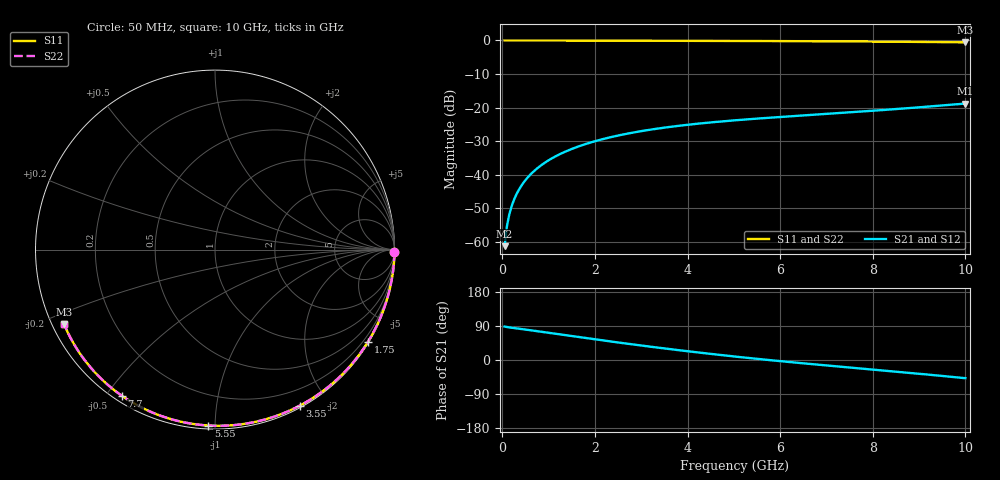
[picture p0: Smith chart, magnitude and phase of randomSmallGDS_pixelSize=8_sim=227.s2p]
! freq	dB(S11)	phase(S11)	dB(S12)	phase(S12)
!  dB(S21)	phase(S21)	dB(S22)	phase(S22)
!S-par simulation data
#  GHz  S  DB  R 50
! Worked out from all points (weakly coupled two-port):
!   200 points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, 50 MHz to 10 GHz, reference 50 ohm
!   highest |S21| = -18.79 dB at 10 GHz (marker M1); lowest = -61.3 dB at 50 MHz (marker M2)
!   lowest |S11| = -0.6 dB at 10 GHz (marker M3), VSWR 31.19, Z = 1.69 - j11.7 ohm
!   |S11| at or under -10 dB: nowhere
!   |S22| runs from -0.6 to 0.0 dB; largest |S21 - S12| = 0
!   S11 on the Smith chart (normalised r, x): 50 MHz: open; 1.75 GHz: 0.03, -3.59; 3.55 GHz: 0.02, -1.68; 5.55 GHz: 0.02, -0.96; 7.7 GHz: 0.02, -0.55; 10 GHz: 0.03, -0.23
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0.05  -0.00 -0.9  -61.26 88.3  -61.26 88.3  -0.00 -0.9
0.1  -0.00 -1.8  -55.33 87.0  -55.33 87.0  -0.00 -1.8
0.15  -0.00 -2.7  -51.88 86.1  -51.88 86.1  -0.00 -2.7
0.2  -0.00 -3.6  -49.43 85.2  -49.43 85.2  -0.00 -3.6
0.25  -0.00 -4.5  -47.53 84.4  -47.53 84.4  -0.00 -4.5
0.35  -0.00 -6.3  -44.65 82.8  -44.65 82.8  -0.00 -6.3
0.5  -0.01 -9.0  -41.60 80.4  -41.60 80.4  -0.01 -9.0
0.7  -0.01 -12.6  -38.72 76.9  -38.72 76.9  -0.01 -12.6
1  -0.02 -18.0  -35.69 71.7  -35.69 71.7  -0.02 -18.0
1.35  -0.03 -24.2  -33.18 65.6  -33.18 65.6  -0.03 -24.2
1.75  -0.04 -31.1  -31.07 58.8  -31.07 58.8  -0.04 -31.2
2.5  -0.06 -44.0  -28.31 46.2  -28.31 46.2  -0.06 -44.0
3.4  -0.09 -59.0  -26.15 32.0  -26.15 32.0  -0.09 -59.0
3.55  -0.09 -61.4  -25.87 29.8  -25.87 29.8  -0.09 -61.4
4.3  -0.12 -73.3  -24.68 18.9  -24.68 18.9  -0.12 -73.3
5.05  -0.14 -84.7  -23.75 8.8  -23.75 8.8  -0.14 -84.8
5.55  -0.17 -92.2  -23.23 2.4  -23.23 2.4  -0.17 -92.2
6.7  -0.23 -108.6  -22.15 -11.1  -22.15 -11.1  -0.23 -108.7
7.7  -0.30 -122.4  -21.23 -22.0  -21.23 -22.0  -0.30 -122.5
8.35  -0.36 -131.3  -20.59 -29.1  -20.59 -29.1  -0.36 -131.3
9.2  -0.45 -142.8  -19.69 -38.6  -19.69 -38.6  -0.45 -142.8
10  -0.56 -153.7  -18.79 -48.0  -18.79 -48.0  -0.56 -153.8
